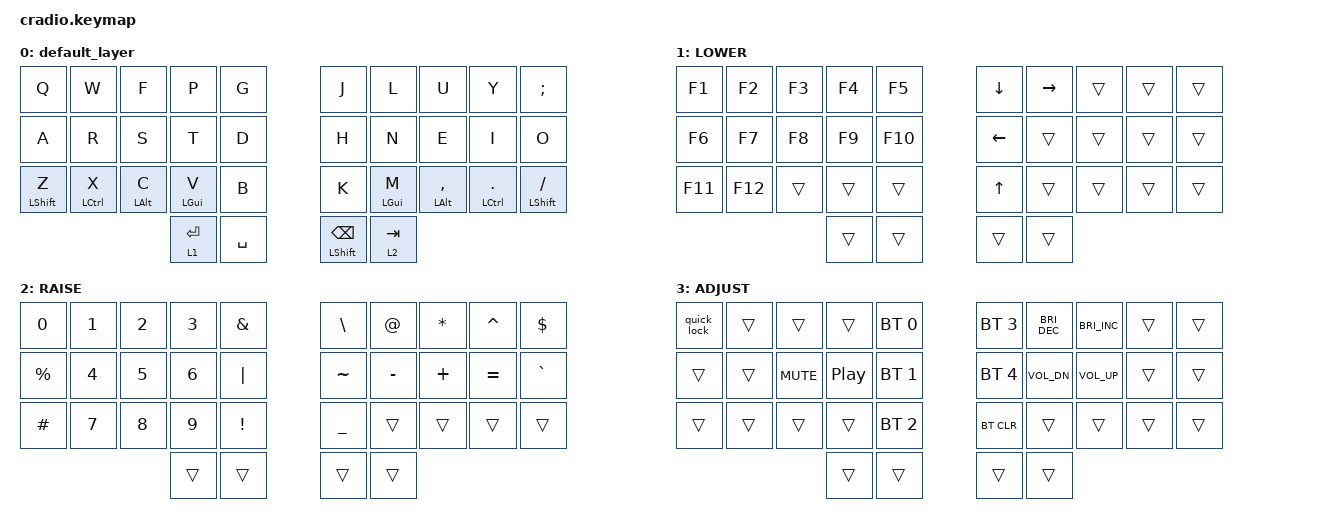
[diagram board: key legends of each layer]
/*
 * Copyright (c) 2020 The ZMK Contributors
 *
 * SPDX-License-Identifier: MIT
 */

#include <behaviors.dtsi>
#include <dt-bindings/zmk/bt.h>
#include <dt-bindings/zmk/keys.h>

#define DEFAULT 0
#define LOWER 1
#define RAISE 2
#define ADJUST 3

#define LEFT_KEYS 0 1 2 3 4 10 11 12 13 14 20 21 22 23 24 30 31 32 33  // left-hand keys
#define RIGHT_KEYS 5 6 7 8 9 15 16 17 18 19 25 26 27 28 29 30 31 32 33 // right-hand keys

# define COMBO_TERM_MS 50
# define COMBO_LAYERS DEFAULT

&mt {
    quick-tap-ms = <175>;
};

/ {
    combos {
        compatible = "zmk,combos";

        combo_escape {
            bindings = <&kp ESC>;
            key-positions = <11 12>;
            timeout-ms = <COMBO_TERM_MS>;
            layers = <COMBO_LAYERS>;
        };

        combo_left_bracket {
            bindings = <&kp LEFT_BRACKET>;
            key-positions = <7 6>;
            timeout-ms = <COMBO_TERM_MS>;
            layers = <COMBO_LAYERS>;
        };

        combo_left_paran {
            bindings = <&kp LEFT_PARENTHESIS>;
            key-positions = <17 16>;
            timeout-ms = <COMBO_TERM_MS>;
            layers = <COMBO_LAYERS>;
        };

        combo_right_paran {
            bindings = <&kp RIGHT_PARENTHESIS>;
            key-positions = <17 18>;
            timeout-ms = <COMBO_TERM_MS>;
            layers = <COMBO_LAYERS>;
        };

        combo_alt_tab {
            bindings = <&kp LA(TAB)>;
            key-positions = <12 13>;
            timeout-ms = <COMBO_TERM_MS>;
            layers = <COMBO_LAYERS>;
        };

        combo_right_bracket {
            bindings = <&kp RIGHT_BRACKET>;
            key-positions = <7 8>;
            timeout-ms = <COMBO_TERM_MS>;
            layers = <COMBO_LAYERS>;
        };

        combo_quote {
            bindings = <&kp SINGLE_QUOTE>;
            key-positions = <26 27>;
            timeout-ms = <COMBO_TERM_MS>;
            layers = <COMBO_LAYERS>;
        };
    };

    macros {
        quick_lock: quick_lock {
            compatible = "zmk,behavior-macro";
            label = "QUICK_LOCK";
            #binding-cells = <0>;
            bindings = <&kp LG(LC(Q)) &kp ESCAPE>;
            wait-ms = <100>;
        };
    };

    behaviors {
        hrm_l: left_homerow_mods {
            compatible = "zmk,behavior-hold-tap";
            label = "HOMEROW_MODS_LEFT";
            #binding-cells = <2>;
            flavor = "balanced";
            tapping-term-ms = <280>;
            quick-tap-ms = <175>;
            hold-trigger-key-positions = <RIGHT_KEYS>;
            hold-trigger-on-release;
            bindings = <&kp>, <&kp>;
        };

        hrm_r: right_homerow_mods {
            compatible = "zmk,behavior-hold-tap";
            label = "HOMEROW_MODS_RIGHT";
            #binding-cells = <2>;
            flavor = "balanced";
            tapping-term-ms = <280>;
            quick-tap-ms = <175>;
            hold-trigger-key-positions = <LEFT_KEYS>;
            hold-trigger-on-release;
            bindings = <&kp>, <&kp>;
        };
    };

    keymap {
        compatible = "zmk,keymap";

        default_layer {
            bindings = <
&kp Q                &kp W                  &kp F              &kp P              &kp G      &kp J                     &kp L              &kp U                  &kp Y                    &kp SEMI
&kp A                &kp R                  &kp S              &kp T              &kp D      &kp H                     &kp N              &kp E                  &kp I                    &kp O
&hrm_l LEFT_SHIFT Z  &hrm_l LEFT_CONTROL X  &hrm_l LEFT_ALT C  &hrm_l LEFT_GUI V  &kp B      &kp K                     &hrm_r LEFT_GUI M  &hrm_r LEFT_ALT COMMA  &hrm_r LEFT_CONTROL DOT  &hrm_r LSHFT SLASH
                                                               &lt 1 ENTER        &kp SPACE  &mt LEFT_SHIFT BACKSPACE  &lt 2 TAB
            >;
        };

        LOWER {
            bindings = <
&kp F1   &kp F2   &kp F3  &kp F4  &kp F5   &kp DOWN  &kp RIGHT  &trans  &trans  &trans
&kp F6   &kp F7   &kp F8  &kp F9  &kp F10  &kp LEFT  &trans     &trans  &trans  &trans
&kp F11  &kp F12  &trans  &trans  &trans   &kp UP    &trans     &trans  &trans  &trans
                          &trans  &trans   &trans    &trans
            >;
        };

        RAISE {
            bindings = <
&kp NUMBER_0  &kp NUMBER_1  &kp NUMBER_2  &kp NUMBER_3  &kp AMPERSAND    &kp BACKSLASH   &kp AT_SIGN  &kp ASTERISK  &kp CARET  &kp DOLLAR
&kp PERCENT   &kp NUMBER_4  &kp NUMBER_5  &kp NUMBER_6  &kp PIPE         &kp TILDE       &kp MINUS    &kp PLUS      &kp EQUAL  &kp GRAVE
&kp HASH      &kp NUMBER_7  &kp NUMBER_8  &kp NUMBER_9  &kp EXCLAMATION  &kp UNDERSCORE  &trans       &trans        &trans     &trans
                                          &trans        &trans           &trans          &trans
            >;
        };

        ADJUST {
            bindings = <
&quick_lock  &trans  &trans      &trans            &bt BT_SEL 0  &bt BT_SEL 3  &kp C_BRI_DEC  &kp C_BRI_INC  &trans  &trans
&trans       &trans  &kp C_MUTE  &kp C_PLAY_PAUSE  &bt BT_SEL 1  &bt BT_SEL 4  &kp C_VOL_DN   &kp C_VOL_UP   &trans  &trans
&trans       &trans  &trans      &trans            &bt BT_SEL 2  &bt BT_CLR    &trans         &trans         &trans  &trans
                                 &trans            &trans        &trans        &trans
            >;
        };
    };

    conditional_layers {
        compatible = "zmk,conditional-layers";

        tri_layer {
            if-layers = <LOWER RAISE>;
            then-layer = <ADJUST>;
        };
    };
};
